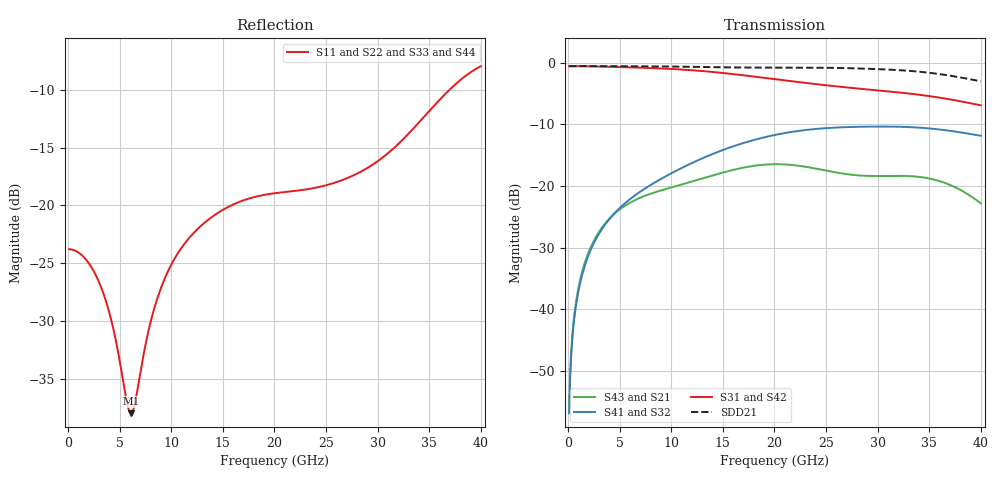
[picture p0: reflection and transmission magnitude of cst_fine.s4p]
! E_s8_L1L8_p1200_round_g2: pair L1→L8, pitch 1.2 mm, two round antipads, 2 GND vias
! stackup: 8-layer 1.6 mm FR-4 (generic)
! ports: 1 P near, 2 N near, 3 P far, 4 N far
! CST Studio Suite 2025.5 Release from 2025-05-30, time domain (FIT, hexahedral, PBA), 418880 mesh cells, 89 s
! mesh: {'lpw': 30.0, 'lpb': 30.0, 'minstep': 0.0, 'ratio': 20}; ports: port 1 (face); port 2 (face); port 3 (face); port 4 (face)
! interpolated from CST's 1001 samples to the case grid
# Hz S RI R 50
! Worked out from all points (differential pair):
!   400 points, 100 MHz to 40 GHz, reference 50 ohm
!   strongest paths, dB at 100 MHz, 10.1 GHz, 20.1 GHz, 30.1 GHz, 40 GHz:
!     S31: -0.6, -1.0, -2.7, -4.5, -6.9
!     S42: -0.6, -1.0, -2.7, -4.5, -6.9
!     S41: -56.8, -17.9, -11.7, -10.4, -11.9
!     S32: -56.8, -17.9, -11.7, -10.4, -11.9
!     S43: -56.1, -20.2, -16.5, -18.4, -22.8
!     S21: -56.1, -20.2, -16.5, -18.4, -22.8
!   taken as a pair (ports 1,2 in; 3,4 out), SDD21 dB: -0.6, -0.6, -0.8, -1.1, -3.0
!   lowest |S11| = -38.0 dB at 6.1 GHz (marker M1), VSWR 1.03, Z = 49.2 + j0.976 ohm
!   |S11| at or under -10 dB: start of sweep to 36.96 GHz
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1e8  -0.0645 0.00226  0.000493 0.00148  0.9339 -0.036  -0.000378 -0.00139
     0.000493 0.00148  -0.0645 0.00226  -0.000378 -0.00139  0.9339 -0.036
     0.9339 -0.036  -0.000378 -0.00139  -0.0645 0.00226  0.000493 0.00148
     -0.000378 -0.00139  0.9339 -0.036  0.000493 0.00148  -0.0645 0.00226
6.1e9  -0.00774 0.00991  0.0415 -0.0612  -0.6387 -0.6536  -0.0443 0.0659
       0.0415 -0.0612  -0.00774 0.00991  -0.0443 0.0659  -0.6387 -0.6536
       -0.6387 -0.6536  -0.0443 0.0659  -0.00774 0.00991  0.0415 -0.0612
       -0.0443 0.0659  -0.6387 -0.6536  0.0415 -0.0612  -0.00774 0.00991
1.21e10  0.0287 0.0696  -0.1059 0.0268  -0.0506 0.8639  0.1503 -0.037
         -0.1059 0.0268  0.0287 0.0696  0.1503 -0.037  -0.0506 0.8639
         -0.0506 0.8639  0.1503 -0.037  0.0287 0.0696  -0.1059 0.0268
         0.1503 -0.037  -0.0506 0.8639  -0.1059 0.0268  0.0287 0.0696
2e10  0.00292 -0.1127  0.1421 -0.0482  0.1369 -0.7214  -0.2341 0.1099
      0.1421 -0.0482  0.00292 -0.1127  -0.2341 0.1099  0.1369 -0.7214
      0.1369 -0.7214  -0.2341 0.1099  0.00292 -0.1127  0.1421 -0.0482
      -0.2341 0.1099  0.1369 -0.7214  0.1421 -0.0482  0.00292 -0.1127
2.85e10  -0.0938 0.105  -0.0962 0.0737  -0.1004 0.6028  0.172 -0.2482
         -0.0962 0.0737  -0.0938 0.105  0.172 -0.2482  -0.1004 0.6028
         -0.1004 0.6028  0.172 -0.2482  -0.0938 0.105  -0.0962 0.0737
         0.172 -0.2482  -0.1004 0.6028  -0.0962 0.0737  -0.0938 0.105
3.33e10  0.1531 0.1454  0.1103 0.0471  0.556 -0.0433  -0.2972 -0.0352
         0.1103 0.0471  0.1531 0.1454  -0.2972 -0.0352  0.556 -0.0433
         0.556 -0.0433  -0.2972 -0.0352  0.1531 0.1454  0.1103 0.0471
         -0.2972 -0.0352  0.556 -0.0433  0.1103 0.0471  0.1531 0.1454
4e10  0.0635 -0.3949  -0.0607 -0.0394  -0.3949 -0.2159  0.235 0.0996
      -0.0607 -0.0394  0.0635 -0.3949  0.235 0.0996  -0.3949 -0.2159
      -0.3949 -0.2159  0.235 0.0996  0.0635 -0.3949  -0.0607 -0.0394
      0.235 0.0996  -0.3949 -0.2159  -0.0607 -0.0394  0.0635 -0.3949
